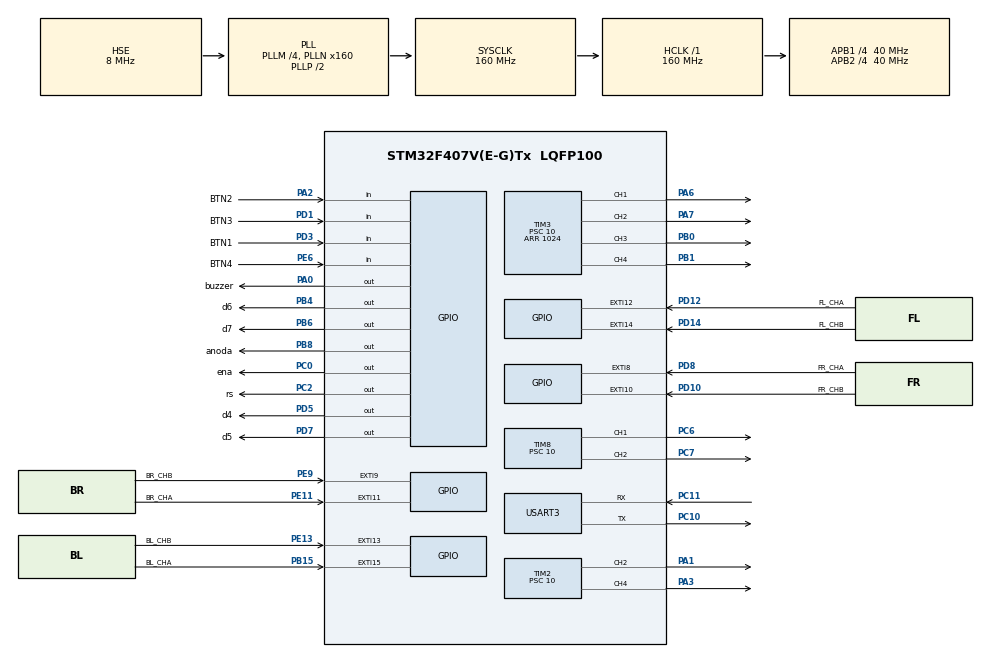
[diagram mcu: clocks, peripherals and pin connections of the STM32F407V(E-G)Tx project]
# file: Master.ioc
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PD12.GPIO_Label=FL_CHA
VP_SYS_VS_tim6.Mode=TIM6
PH0-OSC_IN.Signal=RCC_OSC_IN
NVIC.TIM6_DAC_IRQn=true\:0\:0\:false\:false\:true\:false\:false\:true
Dma.USART3_TX.1.PeriphDataAlignment=DMA_PDATAALIGN_BYTE
PB6.GPIO_Label=d7
PD10.GPIO_PuPd=GPIO_PULLDOWN
Dma.USART3_TX.1.Instance=DMA1_Stream3
TIM3.Channel-PWM\ Generation4\ CH4=TIM_CHANNEL_4
PE6.GPIO_Label=BTN4
RCC.SYSCLKSource=RCC_SYSCLKSOURCE_PLLCLK
RCC.APB2TimFreq_Value=80000000
PB6.Signal=GPIO_Output
PC7.Signal=S_TIM8_CH2
PD8.Signal=GPXTI8
PD10.GPIO_ModeDefaultEXTI=GPIO_MODE_IT_RISING_FALLING
NVIC.EXTI15_10_IRQn=true\:5\:0\:false\:false\:true\:true\:true\:true
NVIC.TIM8_TRG_COM_TIM14_IRQn=true\:5\:0\:false\:false\:true\:true\:true\:true
PB3.Mode=Trace_Asynchronous_SW
PD1.GPIO_Label=BTN3
PD8.GPIO_ModeDefaultEXTI=GPIO_MODE_IT_RISING_FALLING
PE9.Signal=GPXTI9
PD14.GPIO_PuPd=GPIO_PULLDOWN
VP_FREERTOS_VS_CMSIS_V1.Mode=CMSIS_V1
Dma.USART3_TX.1.FIFOMode=DMA_FIFOMODE_DISABLE
Dma.USART3_TX.1.Priority=DMA_PRIORITY_HIGH
Mcu.Package=LQFP100
TIM2.Prescaler=10
PB1.Signal=S_TIM3_CH4
NVIC.TimeBase=TIM6_DAC_IRQn
PD12.Signal=GPXTI12
NVIC.TimeBaseIP=TIM6
TIM7.AutoReloadPreload=TIM_AUTORELOAD_PRELOAD_ENABLE
PC11.Mode=Asynchronous
RCC.APB2CLKDivider=RCC_HCLK_DIV4
RCC.APB1TimFreq_Value=80000000
VP_TIM14_VS_ClockSourceINT.Mode=Enable_Timer
PD3.GPIO_PuPd=GPIO_PULLUP
Dma.USART3_TX.1.PeriphInc=DMA_PINC_DISABLE
PE6.GPIO_PuPd=GPIO_PULLUP
Dma.USART3_RX.0.Instance=DMA1_Stream1
Dma.USART3_TX.1.MemDataAlignment=DMA_MDATAALIGN_BYTE
FREERTOS.Tasks01=motor_task,0,512,motor_thread,Default,NULL,Dynamic,NULL,NULL
TIM3.AutoReloadPreload=TIM_AUTORELOAD_PRELOAD_ENABLE
PD3.Signal=GPIO_Input
PC6.Signal=S_TIM8_CH1
PC2.Signal=GPIO_Output
PD7.Signal=GPIO_Output
PD1.Signal=GPIO_Input
PD1.GPIO_PuPd=GPIO_PULLUP
PC0.Signal=GPIO_Output
RCC.APB1CLKDivider=RCC_HCLK_DIV4
PC14-OSC32_IN.Signal=RCC_OSC32_IN
SH.S_TIM8_CH2.0=TIM8_CH2,PWM Generation2 CH2
PA0-WKUP.GPIO_Label=buzzer
PA0-WKUP.Signal=GPIO_Output
PD10.Signal=GPXTI10
TIM3.Channel-PWM\ Generation3\ CH3=TIM_CHANNEL_3
PB8.GPIO_Label=anoda
VP_TIM8_VS_ClockSourceINT.Mode=Internal
PE9.GPIO_Label=BR_CHB
SH.S_TIM8_CH1.0=TIM8_CH1,PWM Generation1 CH1
TIM8.AutoReloadPreload=TIM_AUTORELOAD_PRELOAD_ENABLE
PE13.GPIO_ModeDefaultEXTI=GPIO_MODE_IT_RISING_FALLING
PD12.GPIO_ModeDefaultEXTI=GPIO_MODE_IT_RISING_FALLING
PB4.GPIO_Label=d6
PB15.GPIO_Label=BL_CHA
TIM2.Period=1024
PA13.Mode=Trace_Asynchronous_SW
TIM14.Prescaler=4200-1
TIM8.Period=1024
PE13.GPIO_Label=BL_CHB
ProjectManager.HeapSize=0x200
NVIC.PriorityGroup=NVIC_PRIORITYGROUP_4
TIM3.Channel-PWM\ Generation2\ CH2=TIM_CHANNEL_2
TIM2.AutoReloadPreload=TIM_AUTORELOAD_PRELOAD_ENABLE
PE9.GPIO_ModeDefaultEXTI=GPIO_MODE_IT_RISING_FALLING
PB0.Signal=S_TIM3_CH3
Mcu.Family=STM32F4
NVIC.USART3_IRQn=true\:5\:0\:false\:false\:true\:true\:true\:true
PA2.GPIO_PuPd=GPIO_PULLUP
Dma.USART3_RX.0.PeriphInc=DMA_PINC_DISABLE
RCC.CortexFreq_Value=160000000
TIM14.AutoReloadPreload=TIM_AUTORELOAD_PRELOAD_ENABLE
PE11.GPIO_Label=BR_CHA
Dma.USART3_TX.1.MemInc=DMA_MINC_ENABLE
PC10.Signal=USART3_TX
NVIC.PVD_IRQn=true\:5\:0\:false\:false\:true\:true\:true\:true
PC0.GPIO_Label=ena
TIM2.Channel-PWM\ Generation2\ CH2=TIM_CHANNEL_2
PD8.GPIO_PuPd=GPIO_PULLDOWN
PB15.Signal=GPXTI15
ProjectManager.StackSize=0x400
VP_TIM7_VS_ClockSourceINT.Mode=Enable_Timer
PE11.GPIO_PuPd=GPIO_PULLDOWN
RCC.HCLKFreq_Value=160000000
TIM8.Channel-PWM\ Generation1\ CH1=TIM_CHANNEL_1
TIM3.Period=1024
TIM7.Period=1000-1
RCC.AHBFreq_Value=160000000
PH0-OSC_IN.Mode=HSE-External-Oscillator
TIM3.Channel-PWM\ Generation1\ CH1=TIM_CHANNEL_1
RCC.HSE_VALUE=8000000
Dma.USART3_RX.0.MemDataAlignment=DMA_MDATAALIGN_BYTE
Dma.USART3_TX.1.Mode=DMA_NORMAL
TIM14.Period=1000-1
PE13.GPIO_PuPd=GPIO_PULLDOWN
PE13.Signal=GPXTI13
PC14-OSC32_IN.Mode=LSE-External-Oscillator
PA14.Mode=Trace_Asynchronous_SW
TIM3.Prescaler=10
Dma.USART3_RX.0.PeriphDataAlignment=DMA_PDATAALIGN_BYTE
Dma.USART3_RX.0.FIFOMode=DMA_FIFOMODE_DISABLE
SH.S_TIM3_CH1.0=TIM3_CH1,PWM Generation1 CH1
PD7.GPIO_Label=d5
PH1-OSC_OUT.Mode=HSE-External-Oscillator
Dma.USART3_RX.0.Direction=DMA_PERIPH_TO_MEMORY
PA6.Signal=S_TIM3_CH1
PB15.GPIO_PuPd=GPIO_PULLDOWN
PD5.GPIO_Label=d4
PA2.GPIO_Label=BTN2
TIM8.Channel-PWM\ Generation2\ CH2=TIM_CHANNEL_2
Dma.USART3_RX.0.MemInc=DMA_MINC_ENABLE
TIM8.Prescaler=10
Dma.Request1=USART3_TX
PD3.GPIO_Label=BTN1
Dma.Request0=USART3_RX
PC2.GPIO_Label=rs
NVIC.TIM7_IRQn=true\:5\:0\:false\:false\:true\:true\:true\:true
VP_TIM3_VS_ClockSourceINT.Mode=Internal
PB4.Signal=GPIO_Output
PA3.Signal=S_TIM2_CH4
RCC.PLLSourceVirtual=RCC_PLLSOURCE_HSE
PC15-OSC32_OUT.Mode=LSE-External-Oscillator
TIM2.Channel-PWM\ Generation4\ CH4=TIM_CHANNEL_4
PC11.Signal=USART3_RX
PC10.Mode=Asynchronous
PD5.Signal=GPIO_Output
NVIC.DMA1_Stream1_IRQn=true\:5\:0\:false\:false\:true\:true\:false\:true
SH.S_TIM3_CH3.0=TIM3_CH3,PWM Generation3 CH3
Dma.USART3_RX.0.Mode=DMA_NORMAL
PD8.GPIO_Label=FR_CHA
PA13.Signal=SYS_JTMS-SWDIO
PE11.GPIO_ModeDefaultEXTI=GPIO_MODE_IT_RISING_FALLING
SH.S_TIM2_CH2.0=TIM2_CH2,PWM Generation2 CH2
ProjectManager.TargetToolchain=STM32CubeIDE
PD10.GPIO_Label=FR_CHB
PE11.Signal=GPXTI11
PC15-OSC32_OUT.Signal=RCC_OSC32_OUT
PA1.Signal=S_TIM2_CH2
SH.S_TIM3_CH2.0=TIM3_CH2,PWM Generation2 CH2
PB15.GPIO_ModeDefaultEXTI=GPIO_MODE_IT_RISING_FALLING
TIM7.Prescaler=8400-1
board=custom
RCC.VCOOutputFreq_Value=320000000
RCC.APB2Freq_Value=40000000
VP_TIM2_VS_ClockSourceINT.Mode=Internal
PH1-OSC_OUT.Signal=RCC_OSC_OUT
PD14.GPIO_Label=FL_CHB
PE6.Signal=GPIO_Input
Mcu.Name=STM32F407V(E-G)Tx
PA2.Signal=GPIO_Input
PD14.Signal=GPXTI14
RCC.48MHZClocksFreq_Value=80000000
PB3.Signal=SYS_JTDO-SWO
RCC.SYSCLKFreq_VALUE=160000000
Dma.USART3_RX.0.Priority=DMA_PRIORITY_HIGH
USART3.VirtualMode=VM_ASYNC
NVIC.EXTI9_5_IRQn=true\:5\:0\:false\:false\:true\:true\:true\:true
PA14.Signal=SYS_JTCK-SWCLK
SH.S_TIM2_CH4.0=TIM2_CH4,PWM Generation4 CH4
RCC.HSI_VALUE=16000000
Dma.USART3_TX.1.Direction=DMA_MEMORY_TO_PERIPH
RCC.PLLM=4
PD14.GPIO_ModeDefaultEXTI=GPIO_MODE_IT_RISING_FALLING
RCC.PLLN=160
PB8.Signal=GPIO_Output
NVIC.DMA1_Stream3_IRQn=true\:5\:0\:false\:false\:true\:true\:false\:true
RCC.APB1Freq_Value=40000000
PD12.GPIO_PuPd=GPIO_PULLDOWN
SH.S_TIM3_CH4.0=TIM3_CH4,PWM Generation4 CH4
PA7.Signal=S_TIM3_CH2
PE9.GPIO_PuPd=GPIO_PULLDOWN

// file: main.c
/* USER CODE BEGIN Header */
/**
 ******************************************************************************
 * @file           : main.c
 * @brief          : Main program body
 ******************************************************************************
 * @attention
 *
 * <h2><center>&copy; Copyright (c) 2021 STMicroelectronics.
 * All rights reserved.</center></h2>
 *
 * This software component is licensed by ST under BSD 3-Clause license,
 * the "License"; You may not use this file except in compliance with the
 * License. You may obtain a copy of the License at:
 *                        opensource.org/licenses/BSD-3-Clause
 *
 ******************************************************************************
 */
/* USER CODE END Header */
#include "main.h"
#include "cmsis_os.h"

/* USER CODE BEGIN Includes */
#include "stdlib.h"
#include "stdbool.h"
#include "stdint.h"
#include "stdio.h"
#include "float.h"
#include "../../Library/lcd.h"
#include "roshandler.h"
/* USER CODE END Includes */

/* USER CODE BEGIN PD */
#define FR_ChanA HAL_GPIO_ReadPin(FR_CHA_GPIO_Port,FR_CHA_Pin)
#define FR_ChanB HAL_GPIO_ReadPin(FR_CHB_GPIO_Port,FR_CHB_Pin)

#define FL_ChanA HAL_GPIO_ReadPin(FL_CHA_GPIO_Port,FL_CHA_Pin)
#define FL_ChanB HAL_GPIO_ReadPin(FL_CHB_GPIO_Port,FL_CHB_Pin)

#define BR_ChanA HAL_GPIO_ReadPin(BR_CHA_GPIO_Port,BR_CHA_Pin)
#define BR_ChanB HAL_GPIO_ReadPin(BR_CHB_GPIO_Port,BR_CHB_Pin)

#define BL_ChanA HAL_GPIO_ReadPin(BL_CHA_GPIO_Port,BL_CHA_Pin)
#define BL_ChanB HAL_GPIO_ReadPin(BL_CHB_GPIO_Port,BL_CHB_Pin)

#define FR_ChanA_High (FR_ChanA==1)
#define FR_ChanA_Low (FR_ChanA==0)

#define FR_ChanB_High (FR_ChanB==1)
#define FR_ChanB_Low (FR_ChanB==0)

#define FL_ChanA_High (FL_ChanA==1)
#define FL_ChanA_Low (FL_ChanA==0)

#define FL_ChanB_High (FL_ChanB==1)
#define FL_ChanB_Low (FL_ChanB==0)

#define BR_ChanA_High (BR_ChanA==1)
#define BR_ChanA_Low (BR_ChanA==0)

#define BR_ChanB_High (BR_ChanB==1)
#define BR_ChanB_Low (BR_ChanB==0)

#define BL_ChanA_High (BL_ChanA==1)
#define BL_ChanA_Low (BL_ChanA==0)

#define BL_ChanB_High (BL_ChanB==1)
#define BL_ChanB_Low (BL_ChanB==0)

/* USER CODE END PD */

TIM_HandleTypeDef htim2;
TIM_HandleTypeDef htim3;
TIM_HandleTypeDef htim7;
TIM_HandleTypeDef htim8;
TIM_HandleTypeDef htim14;

UART_HandleTypeDef huart3;
DMA_HandleTypeDef hdma_usart3_rx;
DMA_HandleTypeDef hdma_usart3_tx;

osThreadId motor_taskHandle;
/* USER CODE BEGIN PV */
Lcd_HandleTypeDef lcd;
Lcd_PortType port[] = { d4_GPIO_Port, d5_GPIO_Port, d6_GPIO_Port, d7_GPIO_Port };
Lcd_PinType pin[] = { d4_Pin, d5_Pin, d6_Pin, d7_Pin };
/* USER CODE END PV */

void SystemClock_Config(void);
static void MX_GPIO_Init(void);
static void MX_DMA_Init(void);
static void MX_TIM2_Init(void);
static void MX_TIM3_Init(void);
static void MX_TIM8_Init(void);
static void MX_USART3_UART_Init(void);
static void MX_TIM7_Init(void);
static void MX_TIM14_Init(void);
void motor_thread(void const * argument);

/* USER CODE BEGIN PFP */
void transmit_motor(int flpwm, int frpwm, int blpwm, int brpwm);
void init_motor(void);
void menu_motor(void);
void menu_encoder(void);
void read_encoder(int pos);
void init_interupt(void);
/* USER CODE END PFP */

/* USER CODE BEGIN 0 */
bool play = false;
char buff[33];
int pos;
int row, col;
int pos_motor = 0;
int row_motor, col_motor;
int pos_encoder;
uint32_t dir_enc[4 * 2];
// Kp Motor 1 = 1.
// Kp Motor 2 = 1.025
// Kp Motor 3 = 1.35
// Kp Motor 4 = 0.6

float ppr[] = { 434., 434., 434., 434. };
float pid[4][3] = { { 1.0, 0.001, 2.0 }, { 1.0, 0.001, 0.0 },
		{ 1.0, 0.02, 0.0 }, { 1.0, 0.001, 1.57 } };
float error[4] = { 0., 0., 0., 0. };

float kp = 0.0;
float ki = 0.0;
float kd = 0.0;
float error_kalkulasi[4] = { 0.0, 0.0, 0.0, 0.0 };
float delta_error[4] = { 0.0, 0.0, 0.0, 0.0 };
float last_error[4] = { 0.0, 0.0, 0.0, 0.0 };
float sigma_error[4] = { 0.0, 0.0, 0.0, 0.0 };
float ts = 0.1;
float max_output = 1024.0;
float min_output = 1024.0;
float last_setpoint[4] = { 0.0, 0.0, 0.0, 0.0 };
float last_kp[4] = { 0.0, 0.0, 0.0, 0.0 };
int count = 0;
int inc = 0;

/* USER CODE END 0 */

int main(void)
{

  /* MCU Configuration--------------------------------------------------------*/

  /* Reset of all peripherals, Initializes the Flash interface and the Systick. */
  HAL_Init();

  /* Configure the system clock */
  SystemClock_Config();

  /* Initialize all configured peripherals */
  MX_GPIO_Init();
  MX_DMA_Init();
  MX_TIM2_Init();
  MX_TIM3_Init();
  MX_TIM8_Init();
  MX_USART3_UART_Init();
  MX_TIM7_Init();
  MX_TIM14_Init();

  /* Create the thread(s) */
  /* definition and creation of motor_task */
  osThreadDef(motor_task, motor_thread, osPriorityNormal, 0, 512);
  motor_taskHandle = osThreadCreate(osThread(motor_task), NULL);

  /* Start scheduler */
  osKernelStart();

  /* We should never get here as control is now taken by the scheduler */
  /* Infinite loop */
	while (1) {

	}
}

void SystemClock_Config(void)
{
  RCC_OscInitTypeDef RCC_OscInitStruct = {0};
  RCC_ClkInitTypeDef RCC_ClkInitStruct = {0};

  /** Configure the main internal regulator output voltage
  */
  __HAL_RCC_PWR_CLK_ENABLE();
  __HAL_PWR_VOLTAGESCALING_CONFIG(PWR_REGULATOR_VOLTAGE_SCALE1);
  /** Initializes the RCC Oscillators according to the specified parameters
  * in the RCC_OscInitTypeDef structure.
  */
  RCC_OscInitStruct.OscillatorType = RCC_OSCILLATORTYPE_HSE;
  RCC_OscInitStruct.HSEState = RCC_HSE_ON;
  RCC_OscInitStruct.PLL.PLLState = RCC_PLL_ON;
  RCC_OscInitStruct.PLL.PLLSource = RCC_PLLSOURCE_HSE;
  RCC_OscInitStruct.PLL.PLLM = 4;
  RCC_OscInitStruct.PLL.PLLN = 160;
  RCC_OscInitStruct.PLL.PLLP = RCC_PLLP_DIV2;
  RCC_OscInitStruct.PLL.PLLQ = 4;
  if (HAL_RCC_OscConfig(&RCC_OscInitStruct) != HAL_OK)
  {
    Error_Handler();
  }
  /** Initializes the CPU, AHB and APB buses clocks
  */
  RCC_ClkInitStruct.ClockType = RCC_CLOCKTYPE_HCLK|RCC_CLOCKTYPE_SYSCLK
                              |RCC_CLOCKTYPE_PCLK1|RCC_CLOCKTYPE_PCLK2;
  RCC_ClkInitStruct.SYSCLKSource = RCC_SYSCLKSOURCE_PLLCLK;
  RCC_ClkInitStruct.AHBCLKDivider = RCC_SYSCLK_DIV1;
  RCC_ClkInitStruct.APB1CLKDivider = RCC_HCLK_DIV4;
  RCC_ClkInitStruct.APB2CLKDivider = RCC_HCLK_DIV4;

  if (HAL_RCC_ClockConfig(&RCC_ClkInitStruct, FLASH_LATENCY_5) != HAL_OK)
  {
    Error_Handler();
  }
}

static void MX_TIM2_Init(void)
{

  TIM_ClockConfigTypeDef sClockSourceConfig = {0};
  TIM_MasterConfigTypeDef sMasterConfig = {0};
  TIM_OC_InitTypeDef sConfigOC = {0};

  htim2.Instance = TIM2;
  htim2.Init.Prescaler = 10;
  htim2.Init.CounterMode = TIM_COUNTERMODE_UP;
  htim2.Init.Period = 1024;
  htim2.Init.ClockDivision = TIM_CLOCKDIVISION_DIV1;
  htim2.Init.AutoReloadPreload = TIM_AUTORELOAD_PRELOAD_ENABLE;
  if (HAL_TIM_Base_Init(&htim2) != HAL_OK)
  {
    Error_Handler();
  }
  sClockSourceConfig.ClockSource = TIM_CLOCKSOURCE_INTERNAL;
  if (HAL_TIM_ConfigClockSource(&htim2, &sClockSourceConfig) != HAL_OK)
  {
    Error_Handler();
  }
  if (HAL_TIM_PWM_Init(&htim2) != HAL_OK)
  {
    Error_Handler();
  }
  sMasterConfig.MasterOutputTrigger = TIM_TRGO_RESET;
  sMasterConfig.MasterSlaveMode = TIM_MASTERSLAVEMODE_DISABLE;
  if (HAL_TIMEx_MasterConfigSynchronization(&htim2, &sMasterConfig) != HAL_OK)
  {
    Error_Handler();
  }
  sConfigOC.OCMode = TIM_OCMODE_PWM1;
  sConfigOC.Pulse = 0;
  sConfigOC.OCPolarity = TIM_OCPOLARITY_HIGH;
  sConfigOC.OCFastMode = TIM_OCFAST_DISABLE;
  if (HAL_TIM_PWM_ConfigChannel(&htim2, &sConfigOC, TIM_CHANNEL_2) != HAL_OK)
  {
    Error_Handler();
  }
  if (HAL_TIM_PWM_ConfigChannel(&htim2, &sConfigOC, TIM_CHANNEL_4) != HAL_OK)
  {
    Error_Handler();
  }
  HAL_TIM_MspPostInit(&htim2);

}

static void MX_TIM3_Init(void)
{

  TIM_ClockConfigTypeDef sClockSourceConfig = {0};
  TIM_MasterConfigTypeDef sMasterConfig = {0};
  TIM_OC_InitTypeDef sConfigOC = {0};

  htim3.Instance = TIM3;
  htim3.Init.Prescaler = 10;
  htim3.Init.CounterMode = TIM_COUNTERMODE_UP;
  htim3.Init.Period = 1024;
  htim3.Init.ClockDivision = TIM_CLOCKDIVISION_DIV1;
  htim3.Init.AutoReloadPreload = TIM_AUTORELOAD_PRELOAD_ENABLE;
  if (HAL_TIM_Base_Init(&htim3) != HAL_OK)
  {
    Error_Handler();
  }
  sClockSourceConfig.ClockSource = TIM_CLOCKSOURCE_INTERNAL;
  if (HAL_TIM_ConfigClockSource(&htim3, &sClockSourceConfig) != HAL_OK)
  {
    Error_Handler();
  }
  if (HAL_TIM_PWM_Init(&htim3) != HAL_OK)
  {
    Error_Handler();
  }
  sMasterConfig.MasterOutputTrigger = TIM_TRGO_RESET;
  sMasterConfig.MasterSlaveMode = TIM_MASTERSLAVEMODE_DISABLE;
  if (HAL_TIMEx_MasterConfigSynchronization(&htim3, &sMasterConfig) != HAL_OK)
  {
    Error_Handler();
  }
  sConfigOC.OCMode = TIM_OCMODE_PWM1;
  sConfigOC.Pulse = 0;
  sConfigOC.OCPolarity = TIM_OCPOLARITY_HIGH;
  sConfigOC.OCFastMode = TIM_OCFAST_DISABLE;
  if (HAL_TIM_PWM_ConfigChannel(&htim3, &sConfigOC, TIM_CHANNEL_1) != HAL_OK)
  {
    Error_Handler();
  }
  if (HAL_TIM_PWM_ConfigChannel(&htim3, &sConfigOC, TIM_CHANNEL_2) != HAL_OK)
  {
    Error_Handler();
  }
  if (HAL_TIM_PWM_ConfigChannel(&htim3, &sConfigOC, TIM_CHANNEL_3) != HAL_OK)
  {
    Error_Handler();
  }
  if (HAL_TIM_PWM_ConfigChannel(&htim3, &sConfigOC, TIM_CHANNEL_4) != HAL_OK)
  {
    Error_Handler();
  }
  HAL_TIM_MspPostInit(&htim3);

}

static void MX_TIM7_Init(void)
{

  TIM_MasterConfigTypeDef sMasterConfig = {0};

  htim7.Instance = TIM7;
  htim7.Init.Prescaler = 8400-1;
  htim7.Init.CounterMode = TIM_COUNTERMODE_UP;
  htim7.Init.Period = 1000-1;
  htim7.Init.AutoReloadPreload = TIM_AUTORELOAD_PRELOAD_ENABLE;
  if (HAL_TIM_Base_Init(&htim7) != HAL_OK)
  {
    Error_Handler();
  }
  sMasterConfig.MasterOutputTrigger = TIM_TRGO_RESET;
  sMasterConfig.MasterSlaveMode = TIM_MASTERSLAVEMODE_DISABLE;
  if (HAL_TIMEx_MasterConfigSynchronization(&htim7, &sMasterConfig) != HAL_OK)
  {
    Error_Handler();
  }

}

static void MX_TIM8_Init(void)
{

  TIM_ClockConfigTypeDef sClockSourceConfig = {0};
  TIM_MasterConfigTypeDef sMasterConfig = {0};
  TIM_OC_InitTypeDef sConfigOC = {0};
  TIM_BreakDeadTimeConfigTypeDef sBreakDeadTimeConfig = {0};

  htim8.Instance = TIM8;
  htim8.Init.Prescaler = 10;
  htim8.Init.CounterMode = TIM_COUNTERMODE_UP;
  htim8.Init.Period = 1024;
  htim8.Init.ClockDivision = TIM_CLOCKDIVISION_DIV1;
  htim8.Init.RepetitionCounter = 0;
  htim8.Init.AutoReloadPreload = TIM_AUTORELOAD_PRELOAD_ENABLE;
  if (HAL_TIM_Base_Init(&htim8) != HAL_OK)
  {
    Error_Handler();
  }
  sClockSourceConfig.ClockSource = TIM_CLOCKSOURCE_INTERNAL;
  if (HAL_TIM_ConfigClockSource(&htim8, &sClockSourceConfig) != HAL_OK)
  {
    Error_Handler();
  }
  if (HAL_TIM_PWM_Init(&htim8) != HAL_OK)
  {
    Error_Handler();
  }
  sMasterConfig.MasterOutputTrigger = TIM_TRGO_RESET;
  sMasterConfig.MasterSlaveMode = TIM_MASTERSLAVEMODE_DISABLE;
  if (HAL_TIMEx_MasterConfigSynchronization(&htim8, &sMasterConfig) != HAL_OK)
  {
    Error_Handler();
  }
  sConfigOC.OCMode = TIM_OCMODE_PWM1;
  sConfigOC.Pulse = 0;
  sConfigOC.OCPolarity = TIM_OCPOLARITY_HIGH;
  sConfigOC.OCNPolarity = TIM_OCNPOLARITY_HIGH;
  sConfigOC.OCFastMode = TIM_OCFAST_DISABLE;
  sConfigOC.OCIdleState = TIM_OCIDLESTATE_RESET;
  sConfigOC.OCNIdleState = TIM_OCNIDLESTATE_RESET;
  if (HAL_TIM_PWM_ConfigChannel(&htim8, &sConfigOC, TIM_CHANNEL_1) != HAL_OK)
  {
    Error_Handler();
  }
  if (HAL_TIM_PWM_ConfigChannel(&htim8, &sConfigOC, TIM_CHANNEL_2) != HAL_OK)
  {
    Error_Handler();
  }
  sBreakDeadTimeConfig.OffStateRunMode = TIM_OSSR_DISABLE;
  sBreakDeadTimeConfig.OffStateIDLEMode = TIM_OSSI_DISABLE;
  sBreakDeadTimeConfig.LockLevel = TIM_LOCKLEVEL_OFF;
  sBreakDeadTimeConfig.DeadTime = 0;
  sBreakDeadTimeConfig.BreakState = TIM_BREAK_DISABLE;
  sBreakDeadTimeConfig.BreakPolarity = TIM_BREAKPOLARITY_HIGH;
  sBreakDeadTimeConfig.AutomaticOutput = TIM_AUTOMATICOUTPUT_DISABLE;
  if (HAL_TIMEx_ConfigBreakDeadTime(&htim8, &sBreakDeadTimeConfig) != HAL_OK)
  {
    Error_Handler();
  }
  HAL_TIM_MspPostInit(&htim8);

}

static void MX_TIM14_Init(void)
{

  htim14.Instance = TIM14;
  htim14.Init.Prescaler = 4200-1;
  htim14.Init.CounterMode = TIM_COUNTERMODE_UP;
  htim14.Init.Period = 1000-1;
  htim14.Init.ClockDivision = TIM_CLOCKDIVISION_DIV1;
  htim14.Init.AutoReloadPreload = TIM_AUTORELOAD_PRELOAD_ENABLE;
  if (HAL_TIM_Base_Init(&htim14) != HAL_OK)
  {
    Error_Handler();
  }

}

static void MX_USART3_UART_Init(void)
{

  huart3.Instance = USART3;
  huart3.Init.BaudRate = 115200;
  huart3.Init.WordLength = UART_WORDLENGTH_8B;
  huart3.Init.StopBits = UART_STOPBITS_1;
  huart3.Init.Parity = UART_PARITY_NONE;
  huart3.Init.Mode = UART_MODE_TX_RX;
  huart3.Init.HwFlowCtl = UART_HWCONTROL_NONE;
  huart3.Init.OverSampling = UART_OVERSAMPLING_16;
  if (HAL_UART_Init(&huart3) != HAL_OK)
  {
    Error_Handler();
  }

}

static void MX_DMA_Init(void)
{

  /* DMA controller clock enable */
  __HAL_RCC_DMA1_CLK_ENABLE();

  /* DMA interrupt init */
  /* DMA1_Stream1_IRQn interrupt configuration */
  HAL_NVIC_SetPriority(DMA1_Stream1_IRQn, 5, 0);
  HAL_NVIC_EnableIRQ(DMA1_Stream1_IRQn);
  /* DMA1_Stream3_IRQn interrupt configuration */
  HAL_NVIC_SetPriority(DMA1_Stream3_IRQn, 5, 0);
  HAL_NVIC_EnableIRQ(DMA1_Stream3_IRQn);

}

static void MX_GPIO_Init(void)
{
  GPIO_InitTypeDef GPIO_InitStruct = {0};

  /* GPIO Ports Clock Enable */
  __HAL_RCC_GPIOE_CLK_ENABLE();
  __HAL_RCC_GPIOC_CLK_ENABLE();
  __HAL_RCC_GPIOH_CLK_ENABLE();
  __HAL_RCC_GPIOA_CLK_ENABLE();
  __HAL_RCC_GPIOB_CLK_ENABLE();
  __HAL_RCC_GPIOD_CLK_ENABLE();

  /*Configure GPIO pin Output Level */
  HAL_GPIO_WritePin(GPIOC, ena_Pin|rs_Pin, GPIO_PIN_RESET);

  /*Configure GPIO pin Output Level */
  HAL_GPIO_WritePin(buzzer_GPIO_Port, buzzer_Pin, GPIO_PIN_RESET);

  /*Configure GPIO pin Output Level */
  HAL_GPIO_WritePin(GPIOD, d4_Pin|d5_Pin, GPIO_PIN_RESET);

  /*Configure GPIO pin Output Level */
  HAL_GPIO_WritePin(GPIOB, d6_Pin|d7_Pin|anoda_Pin, GPIO_PIN_RESET);

  /*Configure GPIO pin : BTN4_Pin */
  GPIO_InitStruct.Pin = BTN4_Pin;
  GPIO_InitStruct.Mode = GPIO_MODE_INPUT;
  GPIO_InitStruct.Pull = GPIO_PULLUP;
  HAL_GPIO_Init(BTN4_GPIO_Port, &GPIO_InitStruct);

  /*Configure GPIO pins : ena_Pin rs_Pin */
  GPIO_InitStruct.Pin = ena_Pin|rs_Pin;
  GPIO_InitStruct.Mode = GPIO_MODE_OUTPUT_PP;
  GPIO_InitStruct.Pull = GPIO_NOPULL;
  GPIO_InitStruct.Speed = GPIO_SPEED_FREQ_LOW;
  HAL_GPIO_Init(GPIOC, &GPIO_InitStruct);

  /*Configure GPIO pin : buzzer_Pin */
  GPIO_InitStruct.Pin = buzzer_Pin;
  GPIO_InitStruct.Mode = GPIO_MODE_OUTPUT_PP;
  GPIO_InitStruct.Pull = GPIO_NOPULL;
  GPIO_InitStruct.Speed = GPIO_SPEED_FREQ_LOW;
  HAL_GPIO_Init(buzzer_GPIO_Port, &GPIO_InitStruct);

  /*Configure GPIO pin : BTN2_Pin */
  GPIO_InitStruct.Pin = BTN2_Pin;
  GPIO_InitStruct.Mode = GPIO_MODE_INPUT;
  GPIO_InitStruct.Pull = GPIO_PULLUP;
  HAL_GPIO_Init(BTN2_GPIO_Port, &GPIO_InitStruct);

  /*Configure GPIO pins : BR_CHB_Pin BR_CHA_Pin BL_CHB_Pin */
  GPIO_InitStruct.Pin = BR_CHB_Pin|BR_CHA_Pin|BL_CHB_Pin;
  GPIO_InitStruct.Mode = GPIO_MODE_IT_RISING_FALLING;
  GPIO_InitStruct.Pull = GPIO_PULLDOWN;
  HAL_GPIO_Init(GPIOE, &GPIO_InitStruct);

  /*Configure GPIO pin : BL_CHA_Pin */
  GPIO_InitStruct.Pin = BL_CHA_Pin;
  GPIO_InitStruct.Mode = GPIO_MODE_IT_RISING_FALLING;
  GPIO_InitStruct.Pull = GPIO_PULLDOWN;
  HAL_GPIO_Init(BL_CHA_GPIO_Port, &GPIO_InitStruct);

  /*Configure GPIO pins : FR_CHA_Pin FR_CHB_Pin FL_CHA_Pin FL_CHB_Pin */
  GPIO_InitStruct.Pin = FR_CHA_Pin|FR_CHB_Pin|FL_CHA_Pin|FL_CHB_Pin;
  GPIO_InitStruct.Mode = GPIO_MODE_IT_RISING_FALLING;
  GPIO_InitStruct.Pull = GPIO_PULLDOWN;
  HAL_GPIO_Init(GPIOD, &GPIO_InitStruct);

  /*Configure GPIO pins : BTN3_Pin BTN1_Pin */
  GPIO_InitStruct.Pin = BTN3_Pin|BTN1_Pin;
  GPIO_InitStruct.Mode = GPIO_MODE_INPUT;
  GPIO_InitStruct.Pull = GPIO_PULLUP;
  HAL_GPIO_Init(GPIOD, &GPIO_InitStruct);

  /*Configure GPIO pins : d4_Pin d5_Pin */
  GPIO_InitStruct.Pin = d4_Pin|d5_Pin;
  GPIO_InitStruct.Mode = GPIO_MODE_OUTPUT_PP;
  GPIO_InitStruct.Pull = GPIO_NOPULL;
  GPIO_InitStruct.Speed = GPIO_SPEED_FREQ_LOW;
  HAL_GPIO_Init(GPIOD, &GPIO_InitStruct);

  /*Configure GPIO pins : d6_Pin d7_Pin anoda_Pin */
  GPIO_InitStruct.Pin = d6_Pin|d7_Pin|anoda_Pin;
  GPIO_InitStruct.Mode = GPIO_MODE_OUTPUT_PP;
  GPIO_InitStruct.Pull = GPIO_NOPULL;
  GPIO_InitStruct.Speed = GPIO_SPEED_FREQ_LOW;
  HAL_GPIO_Init(GPIOB, &GPIO_InitStruct);

  /* EXTI interrupt init*/
  HAL_NVIC_SetPriority(EXTI9_5_IRQn, 5, 0);
  HAL_NVIC_EnableIRQ(EXTI9_5_IRQn);

  HAL_NVIC_SetPriority(EXTI15_10_IRQn, 5, 0);
  HAL_NVIC_EnableIRQ(EXTI15_10_IRQn);

}

/* USER CODE BEGIN 4 */
void HAL_GPIO_EXTI_Callback(uint16_t GPIO_Pin) {
	// Clock Wise

	// FL ....
	if (GPIO_Pin == FL_CHA_Pin) {
		if ((FL_ChanA_High && FL_ChanB_Low)
				|| (FL_ChanA_Low && FL_ChanB_High)) {
			dir_enc[0]++;
		} else if ((FL_ChanA_High && FL_ChanB_High)
				|| (FL_ChanA_Low && FL_ChanB_Low)) {
			dir_enc[1]++;
		}
	}

	if (GPIO_Pin == FL_CHB_Pin) {
		if ((FL_ChanA_High && FL_ChanB_High)
				|| (FL_ChanA_Low && FL_ChanB_Low)) {
			dir_enc[0]++;
		} else if ((FL_ChanA_High && FL_ChanB_Low)
				|| (FL_ChanA_Low && FL_ChanB_High)) {
			dir_enc[1]++;
		}
	}

	// FR ....
	if (GPIO_Pin == FR_CHA_Pin) {
		if ((FR_ChanA_High && FR_ChanB_Low)
				|| (FR_ChanA_Low && FR_ChanB_High)) {
			dir_enc[2]++;
		} else if ((FR_ChanA_High && FR_ChanB_High)
				|| (FR_ChanA_Low && FR_ChanB_Low)) {
			dir_enc[3]++;
		}
	}

	if (GPIO_Pin == FR_CHB_Pin) {
		if ((FR_ChanA_High && FR_ChanB_High)
				|| (FR_ChanA_Low && FR_ChanB_Low)) {
			dir_enc[2]++;
		} else if ((FR_ChanA_High && FR_ChanB_Low)
				|| (FR_ChanA_Low && FR_ChanB_High)) {
			dir_enc[3]++;
		}
	}

	// BL ....
	if (GPIO_Pin == BL_CHA_Pin) {
		if ((BL_ChanA_High && BL_ChanB_Low)
				|| (BL_ChanA_Low && BL_ChanB_High)) {
			dir_enc[4]++;
		} else if ((FR_ChanA_High && FR_ChanB_High)
				|| (BL_ChanA_Low && BL_ChanB_Low)) {
			dir_enc[5]++;
		}
	}

	if (GPIO_Pin == BL_CHB_Pin) {
		if ((BL_ChanA_High && BL_ChanB_High)
				|| (BL_ChanA_Low && BL_ChanB_Low)) {
			dir_enc[4]++;
		} else if ((BL_ChanA_High && BL_ChanB_Low)
				|| (BL_ChanA_Low && BL_ChanB_High)) {
			dir_enc[5]++;
		}
	}

	// BR ....
	if (GPIO_Pin == BR_CHA_Pin) {
		if ((BR_ChanA_High && BR_ChanB_Low)
				|| (BR_ChanA_Low && BR_ChanB_High)) {
			dir_enc[6]++;
		} else if ((BR_ChanA_High && BR_ChanB_High)
				|| (BR_ChanA_Low && BR_ChanB_Low)) {
			dir_enc[7]++;
		}
	}

	if (GPIO_Pin == BR_CHB_Pin) {
		if ((BR_ChanA_High && BR_ChanB_High)
				|| (BR_ChanA_Low && BR_ChanB_Low)) {
			dir_enc[6]++;
		} else if ((BR_ChanA_High && BR_ChanB_Low)
				|| (BR_ChanA_Low && BR_ChanB_High)) {
			dir_enc[7]++;
		}
	}

}

void init_motor() {
	HAL_TIM_PWM_Start(&htim2, TIM_CHANNEL_2);
	HAL_TIM_PWM_Start(&htim2, TIM_CHANNEL_4);

	HAL_TIM_PWM_Start(&htim3, TIM_CHANNEL_1);
	HAL_TIM_PWM_Start(&htim3, TIM_CHANNEL_2);
	HAL_TIM_PWM_Start(&htim3, TIM_CHANNEL_3);
	HAL_TIM_PWM_Start(&htim3, TIM_CHANNEL_4);

	HAL_TIM_PWM_Start(&htim8, TIM_CHANNEL_1);
	HAL_TIM_PWM_Start(&htim8, TIM_CHANNEL_2);
}

void init_interupt(void) {
	HAL_TIM_Base_Start_IT(&htim7);
	HAL_TIM_Base_Start_IT(&htim14);
}

void read_encoder(int pos) {
	while (1) {
		if (HAL_GPIO_ReadPin(BTN2_GPIO_Port, BTN2_Pin) == 0) {
			while (HAL_GPIO_ReadPin(BTN2_GPIO_Port, BTN2_Pin) == 0) {
			};
			Lcd_clear(&lcd);
			break;
		}

		char buff[33];

		switch (pos) {
		case 0:
			Lcd_cursor(&lcd, 0, 0);
			Lcd_string(&lcd, "FR:");
			sprintf(buff, "%.3f   ", rpm[1]);
			Lcd_string(&lcd, buff);
			Lcd_cursor(&lcd, 1, 0);
			Lcd_string(&lcd, "BR:");
			sprintf(buff, "%.3f   ", rpm[3]);
			Lcd_string(&lcd, buff);
			break;

		case 1:
			Lcd_cursor(&lcd, 0, 0);
			Lcd_string(&lcd, "FL:");
			sprintf(buff, "%.3f   ", rpm[0]);
			Lcd_string(&lcd, buff);
			Lcd_cursor(&lcd, 1, 0);
			Lcd_string(&lcd, "BL:");
			sprintf(buff, "%.3f   ", rpm[2]);
			Lcd_string(&lcd, buff);
			break;
		}
	}
}

void menu_encoder(void) {
	while (play) {
		Lcd_cursor(&lcd, pos_encoder, 0);
		Lcd_string(&lcd, ">");
		Lcd_cursor(&lcd, 0, 1);
		Lcd_string(&lcd, "RPM. Right");
		Lcd_cursor(&lcd, 1, 1);
		Lcd_string(&lcd, "RPM. Left");

		if (HAL_GPIO_ReadPin(BTN2_GPIO_Port, BTN2_Pin) == 0) {
			while (HAL_GPIO_ReadPin(BTN2_GPIO_Port, BTN2_Pin) == 0) {
			};
			Lcd_clear(&lcd);
			play = false;
		} else if (HAL_GPIO_ReadPin(BTN1_GPIO_Port, BTN1_Pin) == 0) {
			while (HAL_GPIO_ReadPin(BTN1_GPIO_Port, BTN1_Pin) == 0) {
			};
			Lcd_clear(&lcd);
			if (++pos_encoder > 1) {
				pos_encoder = 0;
			}
		}
		if (HAL_GPIO_ReadPin(BTN4_GPIO_Port, BTN4_Pin) == 0) {
			while (HAL_GPIO_ReadPin(BTN4_GPIO_Port, BTN4_Pin) == 0) {
			};
			Lcd_clear(&lcd);
			read_encoder(pos_encoder);
		}
	}
}

void transmit_motor(int flpwm, int frpwm, int blpwm, int brpwm) {
	float pwm[] = { abs(flpwm), abs(frpwm), abs(blpwm), abs(brpwm) };

	// FL
	if (flpwm > 0) {
		TIM2->CCR4 = pwm[0];
		TIM3->CCR4 = 0;
	} else if (flpwm < 0) {
		TIM2->CCR4 = 0;
		TIM3->CCR4 = pwm[0];
	} else {
		TIM2->CCR4 = 0;
		TIM3->CCR4 = 0;
	}

	// FR
	if (frpwm > 0) {
		TIM8->CCR2 = pwm[1];
		TIM8->CCR1 = 0;
	} else if (frpwm < 0) {
		TIM8->CCR2 = 0;
		TIM8->CCR1 = pwm[1];
	} else {
		TIM8->CCR1 = 0;
		TIM8->CCR2 = 0;
	}

	// BL
	if (blpwm > 0) {
		TIM3->CCR1 = 0;
		TIM3->CCR2 = pwm[2];
	} else if (blpwm < 0) {
		TIM3->CCR1 = pwm[2];
		TIM3->CCR2 = 0;
	} else {
		TIM3->CCR1 = 0;
		TIM3->CCR2 = 0;
	}

	// BR
	if (brpwm > 0) {
		TIM2->CCR2 = 0;
		TIM3->CCR3 = pwm[3];
	} else if (brpwm < 0) {
		TIM2->CCR2 = pwm[3];
		TIM3->CCR3 = 0;
	} else {
		TIM2->CCR2 = 0;
		TIM3->CCR3 = 0;
	}

}

void menu_motor(void) {
	bool cond = false;
	while (1) {
		if (HAL_GPIO_ReadPin(BTN4_GPIO_Port, BTN4_Pin) == 0) {
			while (HAL_GPIO_ReadPin(BTN4_GPIO_Port, BTN4_Pin) == 0) {
			};
			Lcd_clear(&lcd);
			cond = !cond;
			HAL_GPIO_WritePin(anoda_GPIO_Port, anoda_Pin, (int) !cond);
			if (cond) {
				Lcd_cursor(&lcd, 0, 0);
				Lcd_string(&lcd, "Play Robot....");
			} else {
				for (int i = 0; i < 4; i++) {
					setpoint[i] = 0;
				}
				pos = 0;
				play = false;
				break;
			}
		}

		switch (cond) {
		case false:
			Lcd_cursor(&lcd, row_motor, col_motor);
			Lcd_string(&lcd, ">");
			Lcd_cursor(&lcd, 0, 1);
			Lcd_string(&lcd, "FL:");
			Lcd_int(&lcd, setpoint[0]);
			Lcd_cursor(&lcd, 1, 1);
			Lcd_string(&lcd, "FR:");
			Lcd_int(&lcd, setpoint[1]);

			Lcd_cursor(&lcd, 0, 9);
			Lcd_string(&lcd, "BL:");
			Lcd_int(&lcd, setpoint[2]);
			Lcd_cursor(&lcd, 1, 9);
			Lcd_string(&lcd, "BR:");
			Lcd_int(&lcd, setpoint[3]);

			if (HAL_GPIO_ReadPin(BTN2_GPIO_Port, BTN2_Pin) == 0) {
				while (HAL_GPIO_ReadPin(BTN2_GPIO_Port, BTN2_Pin) == 0) {
				};
				Lcd_clear(&lcd);
				if (setpoint[pos_motor] <= -1000) {
					setpoint[pos_motor] = -1000;
				}
				setpoint[pos_motor] -= 50;
			} else if (HAL_GPIO_ReadPin(BTN3_GPIO_Port, BTN3_Pin) == 0) {
				while (HAL_GPIO_ReadPin(BTN3_GPIO_Port, BTN3_Pin) == 0) {
				};
				Lcd_clear(&lcd);
				if (setpoint[pos_motor] >= 1000) {
					setpoint[pos_motor] = 1000;
				}
				setpoint[pos_motor] += 50;
			} else if (HAL_GPIO_ReadPin(BTN1_GPIO_Port, BTN1_Pin) == 0) {
				while (HAL_GPIO_ReadPin(BTN1_GPIO_Port, BTN1_Pin) == 0) {
				};
				Lcd_clear(&lcd);
				if (++pos_motor > 3) {
					pos_motor = 0;
				}
				if (pos_motor == 2) {
					row_motor = 0;
					col_motor = 8;
				} else if (pos_motor == 3) {
					row_motor = 1;
					col_motor = 8;
				} else {
					row_motor = pos_motor;
					col_motor = 0;
				}
			}
			break;
		}
	}
}

/* USER CODE END 4 */

void motor_thread(void const * argument)
{
  /* USER CODE BEGIN 5 */
	setup();
	init_motor();
	init_interupt();
	lcd = Lcd_create(port, pin, rs_GPIO_Port, rs_Pin, ena_GPIO_Port,
	ena_Pin, LCD_4_BIT_MODE);
	HAL_GPIO_WritePin(anoda_GPIO_Port, anoda_Pin, (int) !play);
	Lcd_cursor(&lcd, 0, 2);
	Lcd_string(&lcd, "SKRIPSI 2021");
	Lcd_cursor(&lcd, 1, 2);
	Lcd_string(&lcd, "IVAN FADHILA");
	HAL_Delay(2000);
	Lcd_clear(&lcd);
	/* Infinite loop */
	while (1) {
		if (HAL_GPIO_ReadPin(BTN1_GPIO_Port, BTN1_Pin) == 0) {
			while (HAL_GPIO_ReadPin(BTN1_GPIO_Port, BTN1_Pin) == 0) {
			};
			if (play == false) {
				Lcd_clear(&lcd);
				if (++pos > 2) {
					pos = 0;
				}
				if (pos == 2) {
					row = 0;
					col = 9;
				} else {
					row = pos;
					col = 0;
				}
			}
		} else if (HAL_GPIO_ReadPin(BTN4_GPIO_Port, BTN4_Pin) == 0) {
			while (HAL_GPIO_ReadPin(BTN4_GPIO_Port, BTN4_Pin) == 0) {
			};
			Lcd_clear(&lcd);
			play = !play;
			if (pos == 0) {
				menu_motor();
			} else if (pos == 1) {
				menu_encoder();
			} else if (pos == 2) {
				if (play) {
					Lcd_cursor(&lcd, 0, 0);
					Lcd_string(&lcd, "Play Robot....");
				}
				HAL_GPIO_WritePin(anoda_GPIO_Port, anoda_Pin, (int) !play);
			}
		}

		switch (play) {
		case false:
			Lcd_cursor(&lcd, row, col);
			Lcd_string(&lcd, ">");
			Lcd_cursor(&lcd, 0, 1);
			Lcd_string(&lcd, "Motor");
			Lcd_cursor(&lcd, 1, 1);
			Lcd_string(&lcd, "RPM");
			Lcd_cursor(&lcd, 0, 10);
			Lcd_string(&lcd, "Play");
			break;
		}
		loop();
	}
  /* USER CODE END 5 */
}

 /**
  * @brief  Period elapsed callback in non blocking mode
  * @note   This function is called  when TIM6 interrupt took place, inside
  * HAL_TIM_IRQHandler(). It makes a direct call to HAL_IncTick() to increment
  * a global variable "uwTick" used as application time base.
  * @param  htim : TIM handle
  * @retval None
  */
void HAL_TIM_PeriodElapsedCallback(TIM_HandleTypeDef *htim)
{
  if (htim->Instance == TIM6) {
    HAL_IncTick();
  }
  /* USER CODE BEGIN Callback 1 */
	if (htim->Instance == TIM14) {
		for (int i = 0; i < 4; i++) {
			if (last_setpoint[i] != setpoint[i]) {
				if (setpoint[i] < 0 && last_setpoint[i] > 0) {
					transmit_motor(0, 0, 0, 0);
					error_kalkulasi[i] = 0.0;
					delta_error[i] = 0.0;
					last_error[i] = 0.0;
					sigma_error[i] = 0.0;
					output[i] = 0.0;
//					last_kp[i] = pid[i][1];
//					pid[i][1] = 0.0;
//					count = 1;
				} else if (setpoint[i] > 0 && last_setpoint < 0) {
					transmit_motor(0, 0, 0, 0);
					error_kalkulasi[i] = 0.0;
					delta_error[i] = 0.0;
					last_error[i] = 0.0;
					sigma_error[i] = 0.0;
					output[i] = 0.0;
//					last_kp[i] = pid[i][1];
//					pid[i][1] = 0.0;
//					count = 1;
				}
			}
		}
//				int index = 3;
//		if (setpoint[index] > 0) {
//			if (change == 0) {
//				setpoint[index] = 0;
//				change = 1;
//				output[index] = 0;
//				delta_error[index] = 0;
//				error_kalkulasi[index] = 0;
//				sigma_error[index] = 0;
//				last_error[index] = 0;
//				inc += 1;
//			}
//		} else if (setpoint[index] < 0) {
//			if (change == 1) {
//				change = 0;
//				setpoint[index] = 0;
//				output[index] = 0;
//				delta_error[index] = 0;
//				error_kalkulasi[index] = 0;
//				sigma_error[index] = 0;
//				last_error[index] = 0;
//				inc += 1;
//			}
//		}

		for (int i = 0; i < 4; i++) {
			last_setpoint[i] = setpoint[i];
			output[i] = 0;
			error_kalkulasi[i] = setpoint[i] - rpm[i];
			delta_error[i] = last_error[i] - error_kalkulasi[i];
			sigma_error[i] = sigma_error[i] + error_kalkulasi[i];
			output[i] = (pid[i][0] * error_kalkulasi[i])
					+ (sigma_error[i] * pid[i][1] / ts)
					+ ((delta_error[i] * pid[i][2]) * ts);
			last_error[i] = error_kalkulasi[i];
			if (output[i] > max_output)
				output[i] = max_output;
			else if (output[i] < min_output)
				output[i] = min_output;
			if (setpoint[i] == 0) {
				output[i] = 0;
			} else {
				output[i] = (kp) + (ki * pid[i][1]);
			}
		}
		if (count == 1) {
			inc++;
			if (inc == 10) {
				inc = 0;
				count = 0;
				for (int i = 0; i < 4; i++) {
					pid[i][1] = last_kp[i];
				}
			}
		}
	}
	if (htim->Instance == TIM7) {
		int oddIndex = 1;
		int evenIndex = 0;
		for (int i = 0; i < 4; i++) {
			if (dir_enc[evenIndex] > dir_enc[oddIndex]) {
				rpm[i] = (((dir_enc[evenIndex] * 60) / ppr[i]) / 0.1);
			} else if (dir_enc[evenIndex] < dir_enc[oddIndex]) {
				rpm[i] = (((dir_enc[oddIndex] * 60) / ppr[i]) / 0.1) * -1;
			} else {
				rpm[i] = 0;
			}

			dir_enc[oddIndex] = 0;
			dir_enc[evenIndex] = 0;
			evenIndex += 2;
			oddIndex += 2;
		}
		rpm_publisher();
		oddIndex = 1;
		evenIndex = 0;
		// Gj	1:3	3:5 5:7	7: --9
		// Gn	0:2	2:4	4:6	6: --8
		// 		0 	1 	2 	3
	}
	linearMotor(setpoint);
	if (play) {
//		transmit_motor(setpoint[0], setpoint[1], setpoint[2], setpoint[3]);
		transmit_motor(direction[0], direction[1], direction[2], direction[3]);
	} else {
		transmit_motor(0, 0, 0, 0);
	}
  /* USER CODE END Callback 1 */
}

void Error_Handler(void)
{
	__disable_irq();
	while (1) {
	}
}

/************************ (C) COPYRIGHT STMicroelectronics *****END OF FILE****/
